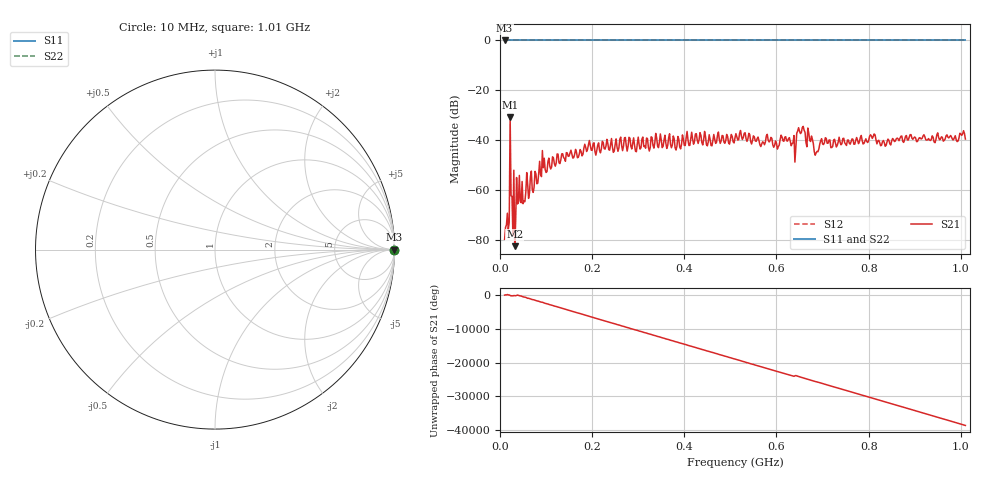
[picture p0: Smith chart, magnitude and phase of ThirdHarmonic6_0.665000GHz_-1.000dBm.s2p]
! 8/15/2025 10:07:36 PM
! C:\ANRITSUVNA\TEMP\TEMP.S2P
! CHANNEL.1
! TR.MEASUREMENT
! RAW.DATA
! RF.CORRECTION.OFF
! AVERAGING.OFF
! IF.BANDWIDTH: 5KHZ
! SWEEPTYPE:  FREQ.SWEEP(Linear)
! Reference Plane Port Info
! PORT:  PORT1  PORT2
! DISTANCE:  0  m  0  m
! TIME:  0  s  0  s
! PHASE.OFFSET:  0  deg.  0  deg.
! LOSS:  0  dB  0  dB
! REF.LOSS:  0  dB  0  dB
! REF.FREQ:  0  Hz  0  Hz
! Power Info
! POWER:  -20  dBm  -20  dBm
! EFF.POWER:  -20  dBm  -20  dBm
! SOURCE.ATTEN:  0  dB  0  dB
! TEST.ATTEN:  0  dB  0  dB
# GHZ S RI R 50.0
! FREQ.GHZ  S11RE  S11IM  S21RE  S21IM  S12RE  S12IM  S22RE  S22IM
!; PortSelection: Port_12
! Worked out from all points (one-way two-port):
!   501 points, 10 MHz to 1.01 GHz, reference 50 ohm
!   highest |S21| = -30.57 dB at 22 MHz (marker M1); lowest = -82.3 dB at 32 MHz (marker M2)
!   lowest |S11| = 0.0 dB at 10 MHz (marker M3)
!   |S11| at or under -10 dB: nowhere
!   |S22| runs from 0.0 to 0.0 dB; largest |S21 - S12| = 1
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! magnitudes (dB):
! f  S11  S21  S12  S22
! 10 MHz  0.0  -79.5  0.0  0.0
! 16 MHz  0.0  -69.1  0.0  0.0
! 18 MHz  0.0  -75.5  0.0  0.0
! 22 MHz  0.0  -30.6  0.0  0.0
! 26 MHz  0.0  -62.3  0.0  0.0
! 28 MHz  0.0  -78.0  0.0  0.0
! 32 MHz  0.0  -82.3  0.0  0.0
! 36 MHz  0.0  -54.8  0.0  0.0
! 40 MHz  0.0  -64.8  0.0  0.0
! 50 MHz  0.0  -65.3  0.0  0.0
! 96 MHz  0.0  -47.1  0.0  0.0
! 178 MHz  0.0  -46.2  0.0  0.0
! 344 MHz  0.0  -42.9  0.0  0.0
! 510 MHz  0.0  -38.9  0.0  0.0
! 638 MHz  0.0  -38.0  0.0  0.0
! 648 MHz  0.0  -34.9  0.0  0.0
! 658 MHz  0.0  -34.4  0.0  0.0
! 678 MHz  0.0  -39.6  0.0  0.0
! 686 MHz  0.0  -45.0  0.0  0.0
! 710 MHz  0.0  -41.1  0.0  0.0
! 844 MHz  0.0  -39.9  0.0  0.0
! 1.01 GHz  0.0  -39.4  0.0  0.0
